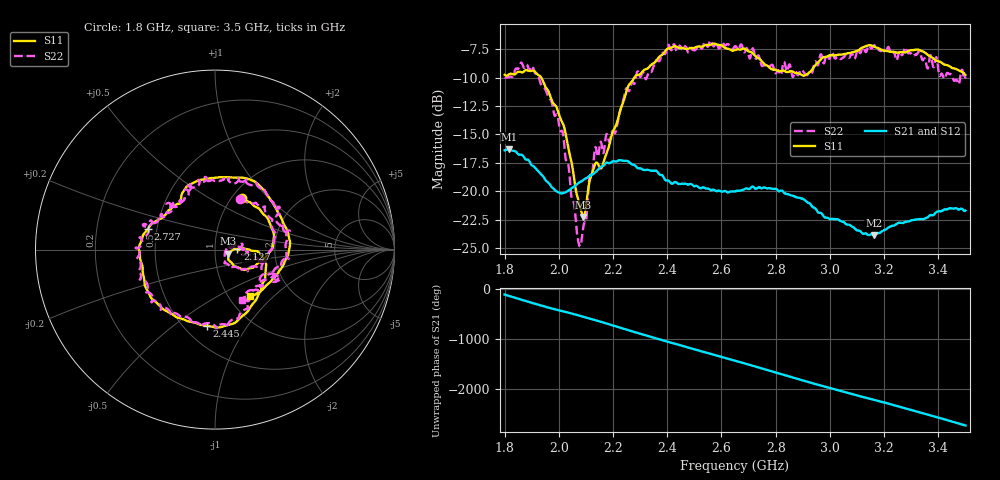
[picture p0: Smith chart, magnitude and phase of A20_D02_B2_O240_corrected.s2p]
! Created with skrf 1.9.0 (http://scikit-rf.org).
# Hz S RI R 50.0
!freq ReS11 ImS11 ReS21 ImS21 ReS12 ImS12 ReS22 ImS22
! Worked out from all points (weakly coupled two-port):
!   1601 points, 1.8 GHz to 3.5 GHz, reference 50 ohm
!   highest |S21| = -16.32 dB at 1.817 GHz (marker M1); lowest = -23.9 dB at 3.162 GHz (marker M2)
!   lowest |S11| = -22.3 dB at 2.09 GHz (marker M3), VSWR 1.17, Z = 57.9 - j2.56 ohm
!   |S11| at or under -10 dB: 1.935 GHz to 2.279 GHz (343.5 MHz wide, 16.3 % of centre)
!   |S22| runs from -24.8 to -6.7 dB; largest |S21 - S12| = 0.0026
!   S11 on the Smith chart (normalised r, x): 1.8 GHz: 1.12, +0.72; 2.127 GHz: 1.29, +0.00; 2.445 GHz: 0.64, -0.67; 2.727 GHz: 0.45, +0.12; 3.5 GHz: 1.25, -0.73
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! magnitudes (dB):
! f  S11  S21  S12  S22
! 1.8 GHz  -9.8  -16.4  -16.4  -10.0
! 1.817 GHz  -9.7  -16.3  -16.3  -10.0
! 1.902 GHz  -9.4  -17.7  -17.7  -9.0
! 1.969 GHz  -11.7  -19.5  -19.5  -11.9
! 2.02 GHz  -14.4  -20.1  -20.1  -15.9
! 2.071 GHz  -20.7  -19.3  -19.3  -24.3
! 2.084 GHz  -21.8  -19.1  -19.1  -24.3
! 2.09 GHz  -22.3  -19.0  -19.0  -23.2
! 2.127 GHz  -18.1  -18.5  -18.5  -17.6
! 2.162 GHz  -17.7  -17.8  -17.7  -16.5
! 2.209 GHz  -14.3  -17.4  -17.3  -14.8
! 2.26 GHz  -10.6  -17.5  -17.4  -11.2
! 2.367 GHz  -8.3  -18.4  -18.4  -8.5
! 2.445 GHz  -7.4  -19.4  -19.4  -7.2
! 2.65 GHz  -7.6  -20.0  -20.0  -7.2
! 2.727 GHz  -8.1  -19.8  -19.8  -8.3
! 2.934 GHz  -9.3  -21.3  -21.3  -9.6
! 3.162 GHz  -7.3  -23.9  -23.8  -7.2
! 3.217 GHz  -7.7  -23.2  -23.1  -7.4
! 3.328 GHz  -7.6  -22.4  -22.4  -7.7
! 3.415 GHz  -8.7  -21.7  -21.7  -9.7
! 3.5 GHz  -9.8  -21.7  -21.7  -9.9
